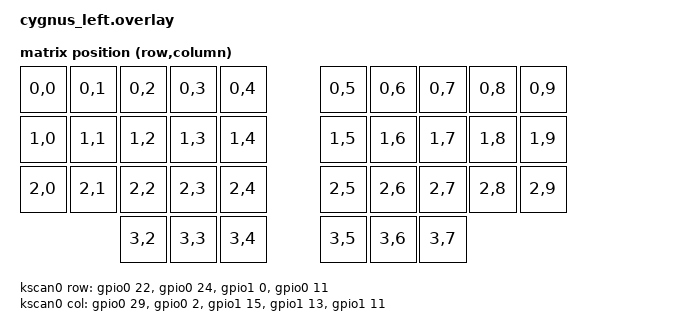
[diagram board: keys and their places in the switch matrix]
#include <zephyr/dt-bindings/gpio/gpio.h>
#include <dt-bindings/zmk/matrix_transform.h>

/ {
    chosen {
        zmk,kscan = &kscan0;
        zmk,matrix-transform = &default_transform;
    };

    default_transform: keymap_transform_0 {
        compatible = "zmk,matrix-transform";
        columns = <10>;
        rows = <4>;

        /*
         * 36-key logical layout: 3x5 per side + 3 thumbs per side.
         * Left half occupies columns 0..4.
         * Left thumbs are R3/C2..C4.
         */
        map = <
            RC(0,0) RC(0,1) RC(0,2) RC(0,3) RC(0,4)   RC(0,5) RC(0,6) RC(0,7) RC(0,8) RC(0,9)
            RC(1,0) RC(1,1) RC(1,2) RC(1,3) RC(1,4)   RC(1,5) RC(1,6) RC(1,7) RC(1,8) RC(1,9)
            RC(2,0) RC(2,1) RC(2,2) RC(2,3) RC(2,4)   RC(2,5) RC(2,6) RC(2,7) RC(2,8) RC(2,9)
                              RC(3,2) RC(3,3) RC(3,4)   RC(3,5) RC(3,6) RC(3,7)
        >;
    };

    kscan0: kscan {
        compatible = "zmk,kscan-gpio-matrix";
        wakeup-source;
        diode-direction = "col2row";

        /*
         * Physical ROW wiring on the left half:
         *   R0 -> 022 = P0.22
         *   R1 -> 024 = P0.24
         *   R2 -> 100 = P1.00
         *   R3 -> 011 = P0.11  (thumb row)
         */
        row-gpios
            = <&gpio0 22 (GPIO_ACTIVE_HIGH | GPIO_PULL_DOWN)>
            , <&gpio0 24 (GPIO_ACTIVE_HIGH | GPIO_PULL_DOWN)>
            , <&gpio1  0 (GPIO_ACTIVE_HIGH | GPIO_PULL_DOWN)>
            , <&gpio0 11 (GPIO_ACTIVE_HIGH | GPIO_PULL_DOWN)>
            ;

        /*
         * Physical COL wiring on the left half:
         *   C0 -> 029 = P0.29
         *   C1 -> 002 = P0.02
         *   C2 -> 115 = P1.15
         *   C3 -> 113 = P1.13
         *   C4 -> 111 = P1.11
         */
        col-gpios
            = <&gpio0 29 GPIO_ACTIVE_HIGH>
            , <&gpio0  2 GPIO_ACTIVE_HIGH>
            , <&gpio1 15 GPIO_ACTIVE_HIGH>
            , <&gpio1 13 GPIO_ACTIVE_HIGH>
            , <&gpio1 11 GPIO_ACTIVE_HIGH>
            ;
    };
};
